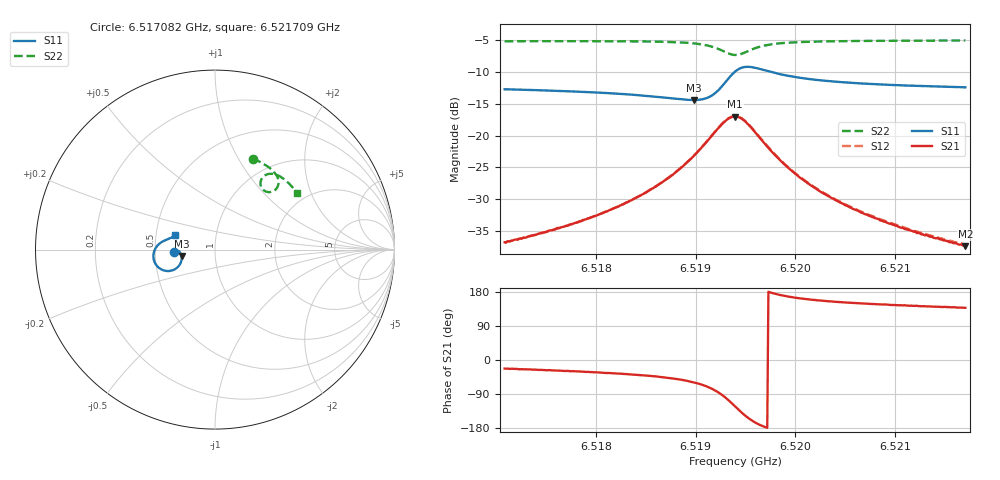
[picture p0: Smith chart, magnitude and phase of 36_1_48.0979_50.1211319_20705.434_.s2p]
#  HZ  S  RI  R  50.00
! Rohde & Schwarz Vector Network Analyzer
! Rohde-Schwarz,ZNB20-2Port,1311601062101988,3.16
! Created: UTC 12/23/2023, 3:38:14 AM
! freq[Hz]  re:S11  im:S11  re:S21  im:S21  re:S12  im:S12  re:S22  im:S22
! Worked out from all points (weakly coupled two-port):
!   401 points, 6.517082 GHz to 6.521709 GHz, reference 50 ohm
!   highest |S21| = -17.02 dB at 6.519396 GHz (marker M1); lowest = -37.4 dB at 6.521709 GHz (marker M2)
!   lowest |S11| = -14.4 dB at 6.518979 GHz (marker M3), VSWR 1.47, Z = 34.2 - j2.48 ohm
!   |S11| at or under -10 dB: start of sweep to 6.519395 GHz; 6.51975 GHz to end of sweep
!   |S22| runs from -7.4 to -5.1 dB; largest |S21 - S12| = 0.0042
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6.5170824e9  -0.23 -0.0155  0.0134 -0.0056  0.0135 -0.00513  0.2097 0.5069
6.5174872e9  -0.2255 -0.00998  0.0156 -0.00783  0.0159 -0.00736  0.2395 0.494
6.5178574e9  -0.2199 -0.00565  0.0184 -0.011  0.0188 -0.0103  0.267 0.4797
6.5182506e9  -0.2119 -0.00384  0.0229 -0.0167  0.0234 -0.0161  0.2965 0.4607
6.5184472e9  -0.2066 -0.00524  0.0261 -0.0216  0.0268 -0.021  0.3117 0.449
6.5186323e9  -0.2003 -0.00912  0.0296 -0.0289  0.0306 -0.0281  0.3263 0.4354
6.5187942e9  -0.1939 -0.0165  0.0331 -0.0389  0.0345 -0.038  0.3388 0.4198
6.5189793e9  -0.1865 -0.035  0.0355 -0.0589  0.0377 -0.0581  0.3512 0.3942
6.5190834e9  -0.186 -0.054  0.033 -0.0774  0.0356 -0.0769  0.3541 0.3734
6.5191759e9  -0.1937 -0.0789  0.0221 -0.0999  0.0253 -0.1  0.3485 0.3501
6.5193031e9  -0.2375 -0.1156  -0.0225 -0.1289  -0.019 -0.1306  0.3142 0.3215
6.5193957e9  -0.2965 -0.1116  -0.0751 -0.1192  -0.0725 -0.1223  0.2731 0.3295
6.5194419e9  -0.3219 -0.0924  -0.0958 -0.0997  -0.0938 -0.1031  0.2588 0.3462
6.5194998e9  -0.3398 -0.0602  -0.1082 -0.0698  -0.107 -0.0734  0.253 0.371
6.5195923e9  -0.3402 -0.0137  -0.1034 -0.0295  -0.1033 -0.0329  0.2655 0.4023
6.5196964e9  -0.3239 0.0184  -0.0858 -0.00475  -0.0864 -0.00726  0.2884 0.4184
6.5199161e9  -0.2918 0.0453  -0.0558 0.0118  -0.0567 0.0103  0.3286 0.4208
6.5201706e9  -0.2699 0.0552  -0.0374 0.0144  -0.0382 0.0136  0.359 0.4091
6.5205291e9  -0.2524 0.0621  -0.0245 0.0133  -0.0251 0.0127  0.3894 0.3888
6.5209455e9  -0.2402 0.0682  -0.0167 0.0115  -0.0175 0.0112  0.4165 0.364
6.5212694e9  -0.2333 0.0725  -0.0132 0.0103  -0.0139 0.0102  0.4348 0.3445
6.5217089e9  -0.2254 0.0786  -0.01 0.00913  -0.0105 0.00905  0.4569 0.3172
